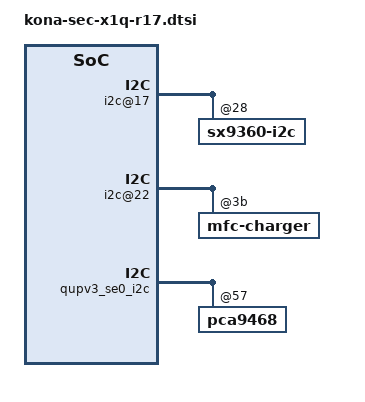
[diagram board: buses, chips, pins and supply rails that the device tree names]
/* Copyright (c) 2020, The Linux Foundation. All rights reserved.
 *
 * This program is free software; you can redistribute it and/or modify
 * it under the terms of the GNU General Public License version 2 and
 * only version 2 as published by the Free Software Foundation.
 *
 * This program is distributed in the hope that it will be useful,
 * but WITHOUT ANY WARRANTY; without even the implied warranty of
 * MERCHANTABILITY or FITNESS FOR A PARTICULAR PURPOSE.  See the
 * GNU General Public License for more details.
 */

#include "kona-sec-x1q-r14.dtsi"
#include "kona-sec-x1q-pinctrl-r17.dtsi"

&soc {
	i2c@17 { /* SW I2C */
		status = "ok";
		sx9360-i2c@28 {
			sx9360,proxthresh_reg = <0x16>; /* threshold : 242 */
		};
	};

	i2c@22 {
		mfc-charger@3b {
			fod_list {
				pad_0x00 { /* DEFAULT */
					cc = <150 64 142 53 150 37 150 34 155 19 156 21>;
					cv = <150 94 142 83 150 67 150 64 155 49 156 51>;
				};
			};
		};
	};

	battery {
		battery,temp_table_adc = <128957 159212 189856 220998 258325
						299870 350886 402249 476146 543857
						624307 717451 828092 933195 1044052
						1155103 1262997 1364359 1456509 1539597
						1610791 1670717 1717559>;

		battery,wpc_temp_table_adc = <128957 159212 189856 220998 258325
						299870 350886 402249 476146 543857
						624307 717451 828092 933195 1044052
						1155103 1262997 1364359 1456509 1539597
						1610791 1670717 1717559>;
	};
};

&hall {
	status = "disabled";
};

&certify_hall {
	status = "disabled";
};

&sdhc_2 {
	status = "disabled";
};

&qupv3_se0_i2c {
	pca9468@57 {
		pca9468,input-itopoff = <200000>; /* 200mA */
	};
};
